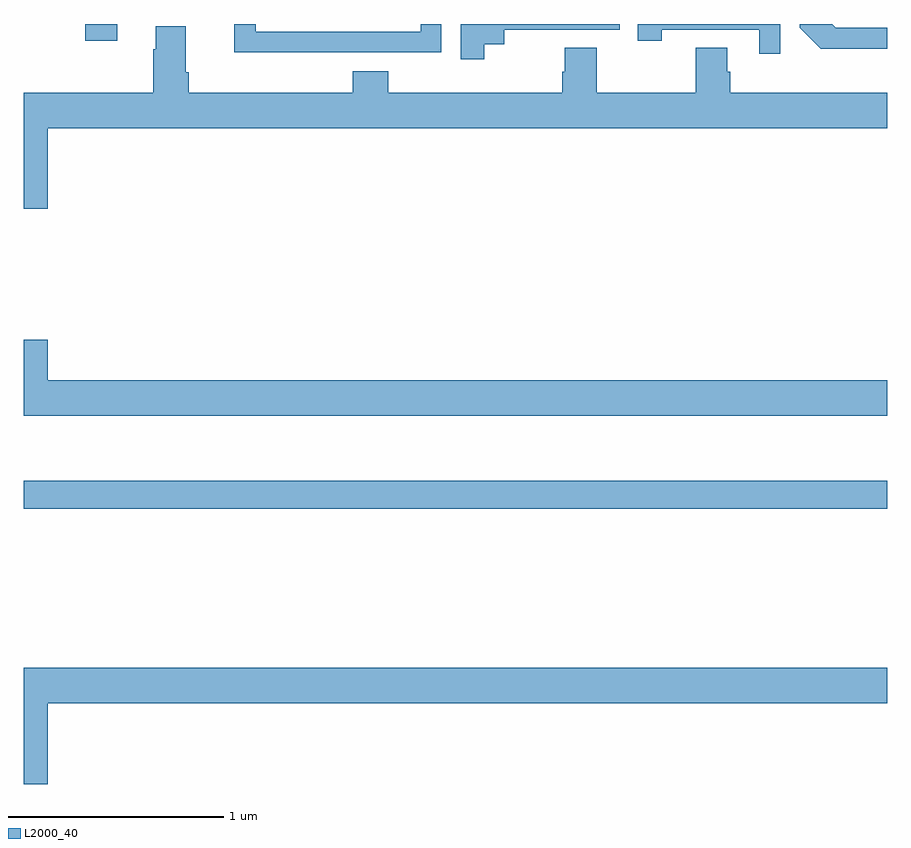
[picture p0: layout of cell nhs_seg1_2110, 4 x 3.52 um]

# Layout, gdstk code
import gdstk
lib = gdstk.Library(unit=1e-6, precision=1e-09)
def R(c, l, rs):  # rectangles x0, y0, x1, y1
    for r in rs: c.add(gdstk.rectangle(r[:2], r[2:], *l))
def P(c, l, *ps):  # polygons
    for p in ps: c.add(gdstk.Polygon(p, *l))
L2000_40 = (2000, 40)

nhs_seg1_2110 = lib.new_cell('nhs_seg1_2110')
R(nhs_seg1_2110, L2000_40, [(225,565.954,229,566.083), (225.285,568.122,225.433,568.199)])
P(nhs_seg1_2110, L2000_40, [(227.134,568.105),(227.226,568.105),(227.226,568.173),(227.76,568.173),(227.76,568.199),(227.025,568.199),(227.025,568.035),(227.134,568.035)],
  [(226.439,568.068),(226.935,568.068),(226.935,568.199),(226.839,568.199),(226.839,568.164),(226.074,568.164),(226.074,568.199),(225.976,568.199),(225.976,568.067),(226.439,568.067)],
  [(228.504,568.199),(227.845,568.199),(227.845,568.122),(227.956,568.122),(227.956,568.173),(228.407,568.173),(228.407,568.062),(228.504,568.062)],
  [(229,568.182),(228.762,568.182),(228.745,568.199),(228.594,568.199),(228.594,568.182),(228.692,568.085),(229,568.085)],
  [(225.112,567.716),(229,567.716),(229,567.88),(228.272,567.88),(228.272,567.978),(228.259,567.978),(228.259,568.088),(228.112,568.088),(228.112,567.88),(227.655,567.88),(227.655,568.088),(227.507,568.088),(227.507,567.978),(227.495,567.978),(227.495,567.88),(226.688,567.88),(226.688,567.979),(226.523,567.979),(226.523,567.88),(225.764,567.88),(225.764,567.976),(225.751,567.976),(225.751,568.189),(225.611,568.189),(225.611,568.082),(225.599,568.082),(225.599,567.88),(225,567.88),(225,567.342),(225.112,567.342)],
  [(229,566.548),(225.112,566.548),(225.112,566.737),(225,566.737),(225,566.384),(229,566.384)],
  [(225.112,565.052),(229,565.052),(229,565.216),(225,565.216),(225,564.678),(225.112,564.678)])

lib.write_gds('nhs_seg1_2110.gds')
